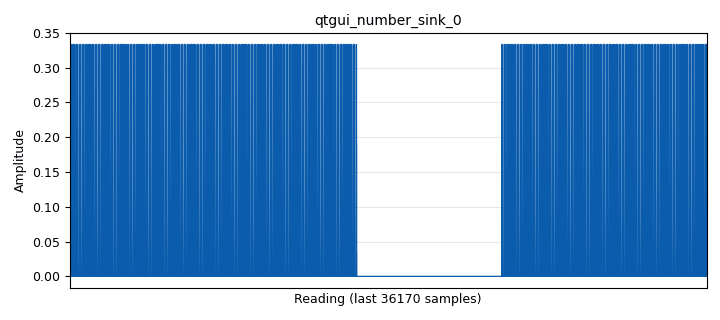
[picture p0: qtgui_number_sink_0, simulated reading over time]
<?xml version='1.0' encoding='utf-8'?>
<?grc format='1' created='3.7.12'?>
<flow_graph>
<block>
<key>options</key>
<param><key>id</key><value>top_block</value></param>
<param><key>generate_options</key><value>qt_gui</value></param>
</block>
<block>
<key>variable</key>
<param><key>id</key><value>samp_rate</value></param>
<param><key>value</key><value>32000</value></param>
</block>
<block>
<key>blocks_throttle</key>
<param><key>id</key><value>blocks_throttle_0</value></param>
<param><key>samples_per_second</key><value>samp_rate</value></param>
<param><key>type</key><value>float</value></param>
</block>
<block>
<key>blocks_vector_source_x</key>
<param><key>id</key><value>blocks_vector_source_x_0</value></param>
<param><key>type</key><value>float</value></param>
<param><key>repeat</key><value>True</value></param>
<param><key>vector</key><value>(1,2,3,4,6)</value></param>
</block>
<block>
<key>epy_block</key>
<param><key>id</key><value>per_calc</value></param>
<param><key>_source_code</key><value>"""
Embedded Python Blocks:

Each time this file is saved, GRC will instantiate the first class it finds
to get ports and parameters of your block. The arguments to __init__  will
be the parameters. All of them are required to have default values!
"""

import numpy as np
from gnuradio import gr


class blk(gr.sync_block):  # other base classes are basic_block, decim_block, interp_block
    """Embedded Python Block  - This block takes the packet numbers of the received window size packets and calculates the quantity of the lost packets
       As for today, it only works for window sizes multiples of the length of the data.
    """

    def __init__(self, window_size=1.0):  # only default arguments here
        """arguments to this function show up as parameters in GRC"""
        gr.sync_block.__init__(
            self,
            name='PER Calculator',   # will show up in GRC
            in_sig=[np.float32],
            out_sig=[np.float32]
        )
        # if an attribute with the same name as a parameter is found,
        # a callback is registered (properties work, too).
        self.window_size = window_size
        self.controller = 0 # This is the index for the window size
        self.errors = 0 # the nunber of lost packets in the window size

    def work(self, input_items, output_items):
        """example: multiply with constant"""
        for i in range(0 ,len(input_items[0])):
        	if self.controller &lt; self.window_size:
        		#if input_items[0][aux] - input_items[0][i] &gt; 1:
        		if i &gt; 0: # First sample is lost
	        		if input_items[0][i] - input_items[0][i-1] &gt; 1:
	        			self.errors +=1 # future packet number jumps one so it means one packet is lost.
        			self.controller += 1
        		output_items[0][i] = 0
        	else:
        		if self.errors &gt; 0:
        			output_items[0][i] = float((self.errors)/(self.window_size)) #Relative error to the observed window
        		else:
        			output_items[0][i] = 0
        		self.controller = 0 #resets the control
        		self.errors = 0 #resets the errors
        return len(output_items[0])
</value></param>
<param><key>window_size</key><value>3.0</value></param>
</block>
<block>
<key>qtgui_number_sink</key>
<param><key>id</key><value>qtgui_number_sink_0</value></param>
<param><key>graph_type</key><value>qtgui.NUM_GRAPH_HORIZ</value></param>
<param><key>type</key><value>float</value></param>
</block>
<connection><source_block_id>blocks_throttle_0</source_block_id><sink_block_id>per_calc</sink_block_id><source_key>0</source_key><sink_key>0</sink_key></connection>
<connection><source_block_id>blocks_vector_source_x_0</source_block_id><sink_block_id>blocks_throttle_0</sink_block_id><source_key>0</source_key><sink_key>0</sink_key></connection>
<connection><source_block_id>per_calc</source_block_id><sink_block_id>qtgui_number_sink_0</sink_block_id><source_key>0</source_key><sink_key>0</sink_key></connection>
</flow_graph>
